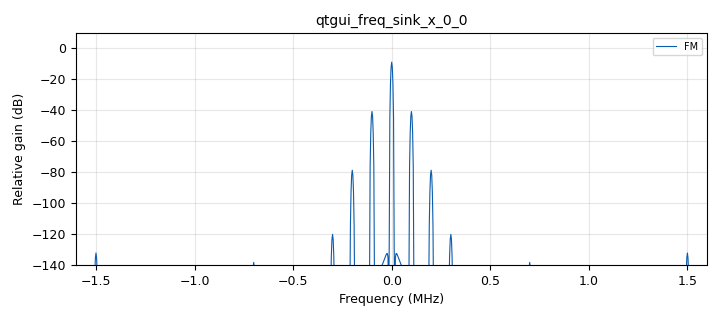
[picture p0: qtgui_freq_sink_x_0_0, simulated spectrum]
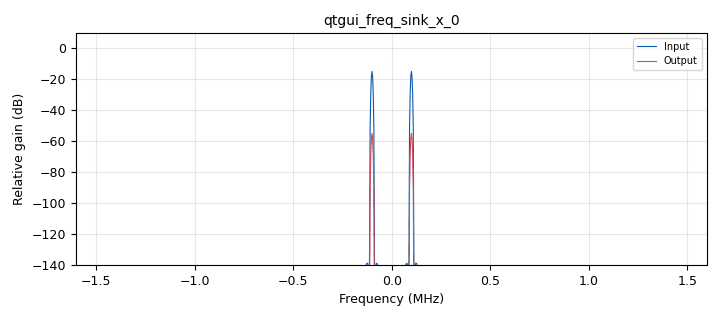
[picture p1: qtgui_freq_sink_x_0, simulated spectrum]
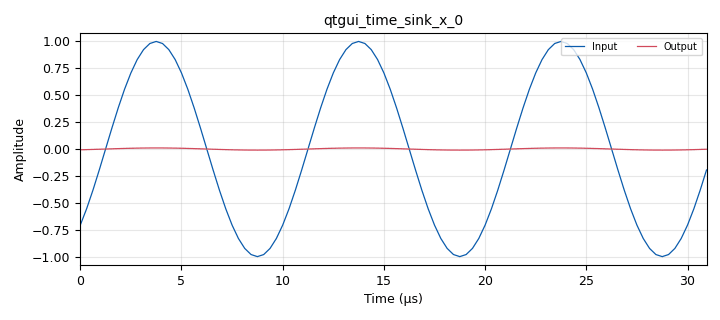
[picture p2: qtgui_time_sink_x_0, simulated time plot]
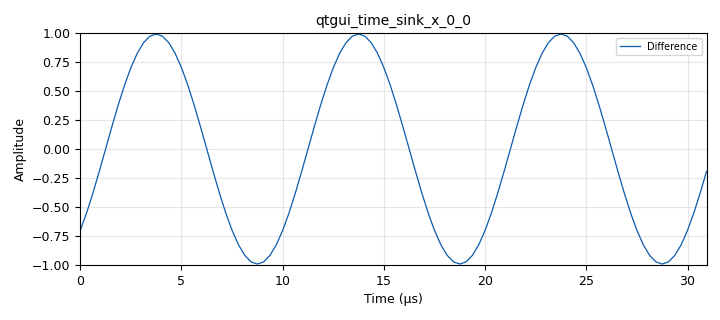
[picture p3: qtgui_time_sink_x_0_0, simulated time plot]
<?xml version='1.0' encoding='utf-8'?>
<?grc format='1' created='3.7.7'?>
<flow_graph>
<block>
<key>analog_frequency_modulator_fc</key>
<param><key>id</key><value>analog_frequency_modulator_fc_0</value></param>
<param><key>sensitivity</key><value>sens</value></param>
</block>
<block>
<key>variable</key>
<param><key>id</key><value>samp_rate</value></param>
<param><key>value</key><value>3200000</value></param>
</block>
<block>
<key>blocks_throttle</key>
<param><key>id</key><value>blocks_throttle_0</value></param>
<param><key>type</key><value>float</value></param>
<param><key>samples_per_second</key><value>samp_rate</value></param>
</block>
<block>
<key>qtgui_freq_sink_x</key>
<param><key>id</key><value>qtgui_freq_sink_x_0_0</value></param>
<param><key>type</key><value>complex</value></param>
<param><key>fftsize</key><value>1024</value></param>
<param><key>wintype</key><value>firdes.WIN_BLACKMAN_hARRIS</value></param>
<param><key>fc</key><value>0</value></param>
<param><key>bw</key><value>samp_rate</value></param>
<param><key>gui_hint</key><value>2,1,1,1</value></param>
<param><key>showports</key><value>True</value></param>
<param><key>label1</key><value>FM</value></param>
</block>
<block>
<key>analog_quadrature_demod_cf</key>
<param><key>id</key><value>analog_quadrature_demod_cf_0</value></param>
<param><key>gain</key><value>1</value></param>
</block>
<block>
<key>qtgui_freq_sink_x</key>
<param><key>id</key><value>qtgui_freq_sink_x_0</value></param>
<param><key>type</key><value>float</value></param>
<param><key>fftsize</key><value>1024</value></param>
<param><key>wintype</key><value>firdes.WIN_BLACKMAN_hARRIS</value></param>
<param><key>fc</key><value>0</value></param>
<param><key>bw</key><value>samp_rate</value></param>
<param><key>nconnections</key><value>2</value></param>
<param><key>gui_hint</key><value>2,0,1,1</value></param>
<param><key>showports</key><value>True</value></param>
<param><key>label1</key><value>Input</value></param>
<param><key>label2</key><value>Output</value></param>
</block>
<block>
<key>qtgui_time_sink_x</key>
<param><key>id</key><value>qtgui_time_sink_x_0</value></param>
<param><key>type</key><value>float</value></param>
<param><key>name</key><value></value></param>
<param><key>size</key><value>100</value></param>
<param><key>srate</key><value>samp_rate</value></param>
<param><key>nconnections</key><value>2</value></param>
<param><key>gui_hint</key><value>1,0,1,1</value></param>
<param><key>label1</key><value>Input</value></param>
<param><key>color1</key><value>"blue"</value></param>
<param><key>label2</key><value>Output</value></param>
<param><key>color2</key><value>"red"</value></param>
</block>
<block>
<key>blocks_sub_xx</key>
<param><key>id</key><value>blocks_sub_xx_0</value></param>
<param><key>type</key><value>float</value></param>
</block>
<block>
<key>variable_qtgui_range</key>
<param><key>id</key><value>sens</value></param>
<param><key>label</key><value>Sensitivity</value></param>
<param><key>value</key><value>0.01</value></param>
<param><key>start</key><value>0</value></param>
<param><key>stop</key><value>3.14</value></param>
<param><key>step</key><value>0.01</value></param>
<param><key>orient</key><value>Qt.Horizontal</value></param>
<param><key>gui_hint</key><value>0,1,1,1</value></param>
</block>
<block>
<key>variable_qtgui_range</key>
<param><key>id</key><value>freq</value></param>
<param><key>label</key><value>Frequency</value></param>
<param><key>value</key><value>100000</value></param>
<param><key>start</key><value>100</value></param>
<param><key>stop</key><value>samp_rate/2</value></param>
<param><key>step</key><value>100</value></param>
<param><key>orient</key><value>Qt.Horizontal</value></param>
<param><key>gui_hint</key><value>0,0,1,1</value></param>
</block>
<block>
<key>analog_sig_source_x</key>
<param><key>id</key><value>analog_sig_source_x_0</value></param>
<param><key>type</key><value>float</value></param>
<param><key>samp_rate</key><value>samp_rate</value></param>
<param><key>waveform</key><value>analog.GR_SIN_WAVE</value></param>
<param><key>freq</key><value>freq</value></param>
<param><key>amp</key><value>1</value></param>
<param><key>offset</key><value>0</value></param>
</block>
<block>
<key>options</key>
<param><key>id</key><value>analog_quad_demod</value></param>
<param><key>generate_options</key><value>qt_gui</value></param>
<param><key>category</key><value>Custom</value></param>
<param><key>run_options</key><value>run</value></param>
</block>
<block>
<key>qtgui_time_sink_x</key>
<param><key>id</key><value>qtgui_time_sink_x_0_0</value></param>
<param><key>type</key><value>float</value></param>
<param><key>name</key><value></value></param>
<param><key>size</key><value>100</value></param>
<param><key>srate</key><value>samp_rate</value></param>
<param><key>gui_hint</key><value>1,1,1,1</value></param>
<param><key>label1</key><value>Difference</value></param>
<param><key>color1</key><value>"blue"</value></param>
</block>
<connection><source_block_id>analog_sig_source_x_0</source_block_id><sink_block_id>blocks_throttle_0</sink_block_id><source_key>0</source_key><sink_key>0</sink_key></connection>
<connection><source_block_id>blocks_throttle_0</source_block_id><sink_block_id>analog_frequency_modulator_fc_0</sink_block_id><source_key>0</source_key><sink_key>0</sink_key></connection>
<connection><source_block_id>blocks_throttle_0</source_block_id><sink_block_id>qtgui_time_sink_x_0</sink_block_id><source_key>0</source_key><sink_key>0</sink_key></connection>
<connection><source_block_id>blocks_throttle_0</source_block_id><sink_block_id>qtgui_freq_sink_x_0</sink_block_id><source_key>0</source_key><sink_key>0</sink_key></connection>
<connection><source_block_id>analog_quadrature_demod_cf_0</source_block_id><sink_block_id>qtgui_time_sink_x_0</sink_block_id><source_key>0</source_key><sink_key>1</sink_key></connection>
<connection><source_block_id>analog_quadrature_demod_cf_0</source_block_id><sink_block_id>qtgui_freq_sink_x_0</sink_block_id><source_key>0</source_key><sink_key>1</sink_key></connection>
<connection><source_block_id>analog_frequency_modulator_fc_0</source_block_id><sink_block_id>analog_quadrature_demod_cf_0</sink_block_id><source_key>0</source_key><sink_key>0</sink_key></connection>
<connection><source_block_id>blocks_throttle_0</source_block_id><sink_block_id>blocks_sub_xx_0</sink_block_id><source_key>0</source_key><sink_key>0</sink_key></connection>
<connection><source_block_id>analog_quadrature_demod_cf_0</source_block_id><sink_block_id>blocks_sub_xx_0</sink_block_id><source_key>0</source_key><sink_key>1</sink_key></connection>
<connection><source_block_id>analog_frequency_modulator_fc_0</source_block_id><sink_block_id>qtgui_freq_sink_x_0_0</sink_block_id><source_key>0</source_key><sink_key>0</sink_key></connection>
<connection><source_block_id>blocks_sub_xx_0</source_block_id><sink_block_id>qtgui_time_sink_x_0_0</sink_block_id><source_key>0</source_key><sink_key>0</sink_key></connection>
</flow_graph>
